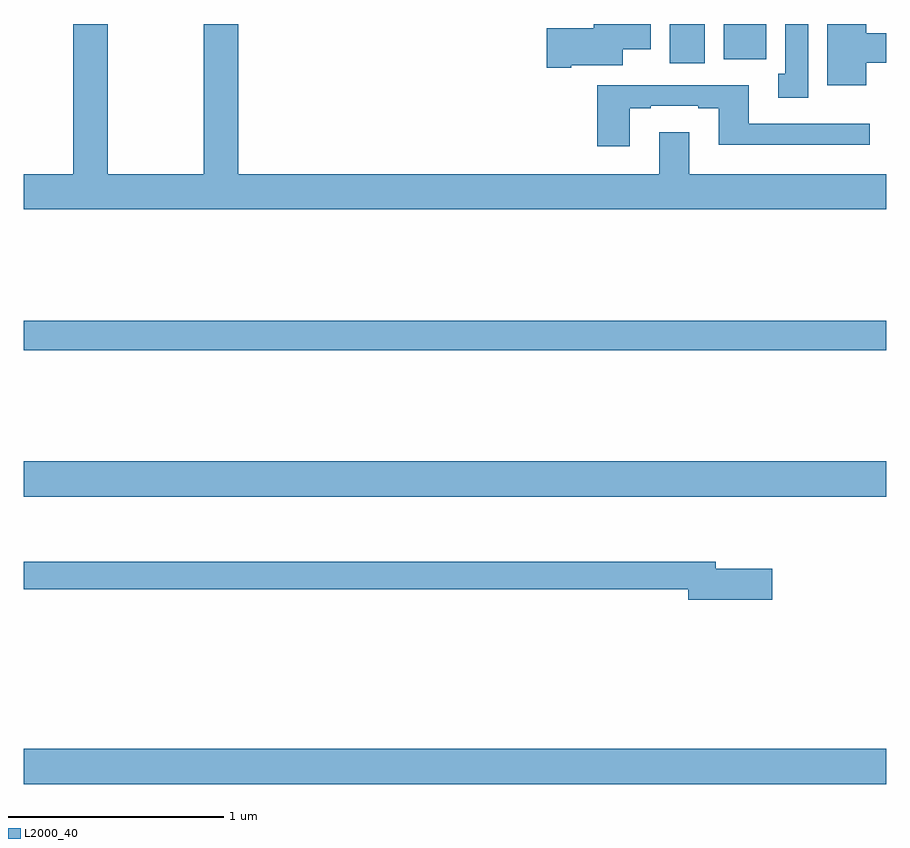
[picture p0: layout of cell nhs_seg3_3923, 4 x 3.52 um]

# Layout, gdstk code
import gdstk
lib = gdstk.Library(unit=1e-6, precision=1e-09)
def R(c, l, rs):  # rectangles x0, y0, x1, y1
    for r in rs: c.add(gdstk.rectangle(r[:2], r[2:], *l))
def P(c, l, *ps):  # polygons
    for p in ps: c.add(gdstk.Polygon(p, *l))
L2000_40 = (2000, 40)

nhs_seg3_3923 = lib.new_cell('nhs_seg3_3923')
R(nhs_seg3_3923, L2000_40, [(313,740.876,317,741.04), (313,742.208,317,742.372), (313,742.888,317,743.024), (315.995,744.219,316.159,744.4), (316.247,744.236,316.444,744.4)])
P(nhs_seg3_3923, L2000_40, [(317,743.704),(316.087,743.704),(316.087,743.899),(315.947,743.899),(315.947,743.704),(313.994,743.704),(313.994,744.4),(313.834,744.4),(313.834,743.704),(313.389,743.704),(313.389,744.4),(313.229,744.4),(313.229,743.704),(313,743.704),(313,743.54),(317,743.54)],
  [(316.639,744.4),(316.532,744.4),(316.532,744.17),(316.499,744.17),(316.499,744.057),(316.639,744.057)],
  [(316.906,744.22),(317,744.22),(317,744.356),(316.906,744.356),(316.906,744.4),(316.727,744.4),(316.727,744.116),(316.906,744.116)],
  [(315.538,744.209),(315.778,744.209),(315.778,744.284),(315.907,744.284),(315.907,744.4),(315.644,744.4),(315.644,744.38),(315.426,744.38),(315.426,744.197),(315.538,744.197)],
  [(315.811,744.009),(315.907,744.009),(315.907,744.021),(316.127,744.021),(316.127,744.009),(316.223,744.009),(316.223,743.84),(316.924,743.84),(316.924,743.937),(316.363,743.937),(316.363,744.117),(315.659,744.117),(315.659,743.832),(315.811,743.832)],
  [(316.471,741.873),(316.21,741.873),(316.21,741.907),(313,741.907),(313,741.778),(316.082,741.778),(316.082,741.731),(316.471,741.731)])

lib.write_gds('nhs_seg3_3923.gds')
